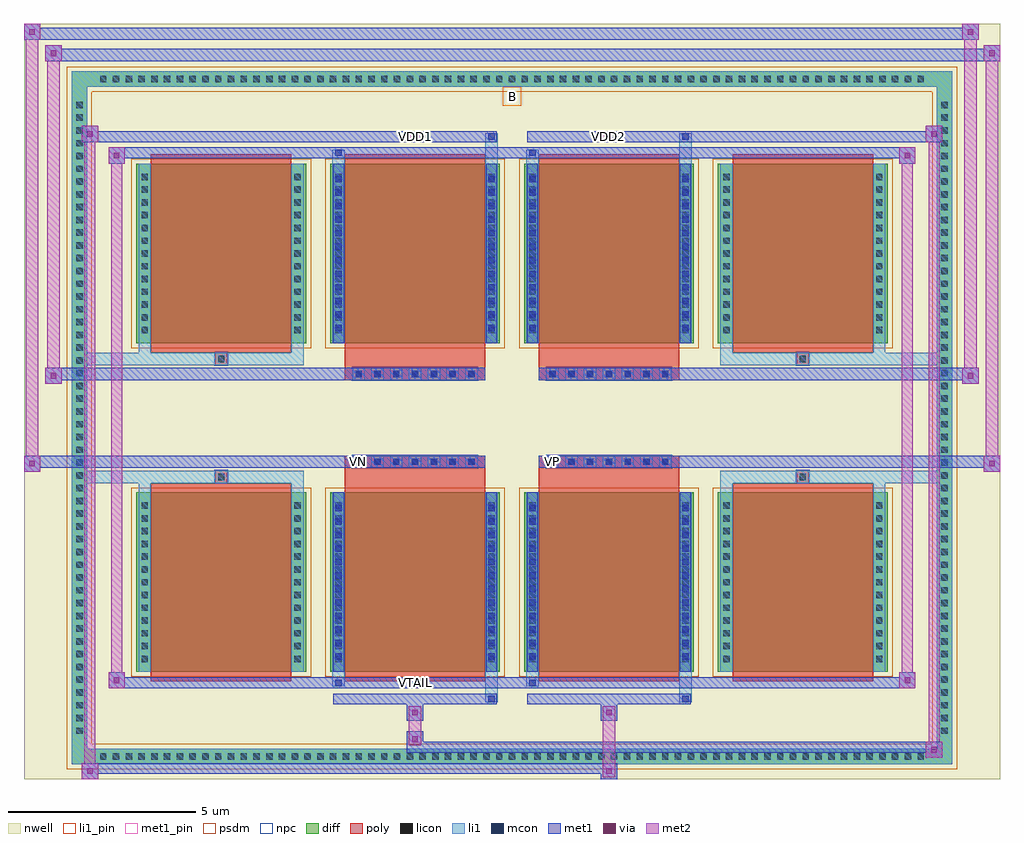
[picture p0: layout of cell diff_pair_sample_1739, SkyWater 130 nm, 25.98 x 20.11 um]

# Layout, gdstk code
import gdstk
lib = gdstk.Library(unit=1e-6, precision=5e-09)
def R(c, l, rs):  # rectangles x0, y0, x1, y1
    for r in rs: c.add(gdstk.rectangle(r[:2], r[2:], *l))
def A(c, l, x, y, w, h, nx, ny, dx, dy):  # array of equal rectangles
    R(c, l, [(x+i*dx, y+j*dy, x+i*dx+w, y+j*dy+h) for i in range(nx) for j in range(ny)])
def P(c, l, *ps):  # polygons
    for p in ps: c.add(gdstk.Polygon(p, *l))
nwell = (64, 20)
diff = (65, 20)
poly = (66, 20)
licon = (66, 44)
li1_pin = (67, 16)
li1 = (67, 20)
mcon = (67, 44)
met1_pin = (68, 16)
met1 = (68, 20)
via = (68, 44)
met2 = (69, 20)
psdm = (94, 20)
npc = (95, 20)

diff_pair_sample_1739 = lib.new_cell('diff_pair_sample_1739')
R(diff_pair_sample_1739, nwell, [(-12.99,-9.62,12.99,10.49), (-10.31,-7.81,-0.01,-0.805), (0.01,-7.81,10.31,-0.805), (-10.31,0.805,-0.01,7.81), (0.01,0.805,10.31,7.81)])
A(diff_pair_sample_1739, diff, -11.085, -9.22, 0.41, 0.41, 65, 2, 0.34, 18.03)
A(diff_pair_sample_1739, diff, -11.72, -8.535, 0.41, 0.41, 1, 50, 0, 0.34)
A(diff_pair_sample_1739, diff, 11.31, -8.535, 0.41, 0.41, 1, 50, 0, 0.34)
A(diff_pair_sample_1739, diff, -10, -6.765, 4.52, 4.78, 4, 2, 5.16, 8.75)
R(diff_pair_sample_1739, diff, [(-11.085,-9.22,11.085,-8.81), (-11.72,-8.535,-11.31,8.535), (11.31,-8.535,11.72,8.535), (-11.085,8.81,11.085,9.22)])
P(diff_pair_sample_1739, diff, [(11.72,9.22),(-11.72,9.22),(-11.72,-8.81),(-11.31,-8.81),(-11.31,8.81),(11.31,8.81),(11.31,-8.81),(-11.31,-8.81),(-11.72,-8.81),(-11.72,-9.22),(11.72,-9.22)])
A(diff_pair_sample_1739, poly, -9.61, -7.015, 3.74, 5.28, 4, 2, 5.16, 8.75)
A(diff_pair_sample_1739, poly, -4.245, -1.335, 0.33, 0.33, 7, 2, 0.5, 2.34)
A(diff_pair_sample_1739, poly, 0.915, -1.335, 0.33, 0.33, 7, 2, 0.5, 2.34)
R(diff_pair_sample_1739, poly, [(-7.905,-1.735,-7.575,-1.405), (-7.905,-1.735,-7.575,-1.405), (-4.45,-1.735,-0.71,-1.335), (0.71,-1.735,4.45,-1.335), (7.575,-1.735,7.905,-1.405), (7.575,-1.735,7.905,-1.405), (-4.45,-1.335,-0.71,-1.005), (0.71,-1.335,4.45,-1.005), (-4.45,1.005,-0.71,1.335), (0.71,1.005,4.45,1.335), (-4.45,1.335,-0.71,1.735), (0.71,1.335,4.45,1.735), (-7.905,1.405,-7.575,1.735), (-7.905,1.405,-7.575,1.735), (7.575,1.405,7.905,1.735), (7.575,1.405,7.905,1.735)])
A(diff_pair_sample_1739, licon, -10.965, -9.1, 0.17, 0.17, 65, 2, 0.34, 18.03)
A(diff_pair_sample_1739, licon, -11.6, -8.415, 0.17, 0.17, 1, 50, 0, 0.34)
A(diff_pair_sample_1739, licon, 11.43, -8.415, 0.17, 0.17, 1, 50, 0, 0.34)
A(diff_pair_sample_1739, licon, -9.86, -6.5, 0.17, 0.17, 1, 13, 0, 0.34)
A(diff_pair_sample_1739, licon, -5.79, -6.5, 0.17, 0.17, 1, 13, 0, 0.34)
A(diff_pair_sample_1739, licon, -4.7, -6.5, 0.17, 0.17, 1, 13, 0, 0.34)
A(diff_pair_sample_1739, licon, -0.63, -6.5, 0.17, 0.17, 1, 13, 0, 0.34)
A(diff_pair_sample_1739, licon, 0.46, -6.5, 0.17, 0.17, 1, 13, 0, 0.34)
A(diff_pair_sample_1739, licon, 4.53, -6.5, 0.17, 0.17, 1, 13, 0, 0.34)
A(diff_pair_sample_1739, licon, 5.62, -6.5, 0.17, 0.17, 1, 13, 0, 0.34)
A(diff_pair_sample_1739, licon, 9.69, -6.5, 0.17, 0.17, 1, 13, 0, 0.34)
A(diff_pair_sample_1739, licon, -4.165, -1.255, 0.17, 0.17, 7, 2, 0.5, 2.34)
A(diff_pair_sample_1739, licon, 0.995, -1.255, 0.17, 0.17, 7, 2, 0.5, 2.34)
A(diff_pair_sample_1739, licon, -9.86, 2.25, 0.17, 0.17, 1, 13, 0, 0.34)
A(diff_pair_sample_1739, licon, -5.79, 2.25, 0.17, 0.17, 1, 13, 0, 0.34)
A(diff_pair_sample_1739, licon, -4.7, 2.25, 0.17, 0.17, 1, 13, 0, 0.34)
A(diff_pair_sample_1739, licon, -0.63, 2.25, 0.17, 0.17, 1, 13, 0, 0.34)
A(diff_pair_sample_1739, licon, 0.46, 2.25, 0.17, 0.17, 1, 13, 0, 0.34)
A(diff_pair_sample_1739, licon, 4.53, 2.25, 0.17, 0.17, 1, 13, 0, 0.34)
A(diff_pair_sample_1739, licon, 5.62, 2.25, 0.17, 0.17, 1, 13, 0, 0.34)
A(diff_pair_sample_1739, licon, 9.69, 2.25, 0.17, 0.17, 1, 13, 0, 0.34)
R(diff_pair_sample_1739, licon, [(-7.825,-1.655,-7.655,-1.485), (7.655,-1.655,7.825,-1.485), (-7.825,1.485,-7.655,1.655), (7.655,1.485,7.825,1.655)])
R(diff_pair_sample_1739, li1_pin, [(-0.25,8.31,0.25,8.81)])
A(diff_pair_sample_1739, li1, -11.045, -9.18, 0.33, 0.33, 65, 2, 0.34, 18.03)
A(diff_pair_sample_1739, li1, -11.68, -8.495, 0.33, 0.33, 1, 50, 0, 0.34)
A(diff_pair_sample_1739, li1, 11.35, -8.495, 0.33, 0.33, 1, 50, 0, 0.34)
A(diff_pair_sample_1739, li1, -9.94, -6.58, 0.33, 0.33, 1, 13, 0, 0.34)
A(diff_pair_sample_1739, li1, -5.87, -6.58, 0.33, 0.33, 1, 13, 0, 0.34)
A(diff_pair_sample_1739, li1, -4.78, -6.58, 0.33, 0.33, 1, 13, 0, 0.34)
A(diff_pair_sample_1739, li1, -0.71, -6.58, 0.33, 0.33, 1, 13, 0, 0.34)
A(diff_pair_sample_1739, li1, 0.38, -6.58, 0.33, 0.33, 1, 13, 0, 0.34)
A(diff_pair_sample_1739, li1, 4.45, -6.58, 0.33, 0.33, 1, 13, 0, 0.34)
A(diff_pair_sample_1739, li1, 5.54, -6.58, 0.33, 0.33, 1, 13, 0, 0.34)
A(diff_pair_sample_1739, li1, 9.61, -6.58, 0.33, 0.33, 1, 13, 0, 0.34)
A(diff_pair_sample_1739, li1, -4.7, -6.44, 0.17, 0.17, 1, 12, 0, 0.36)
A(diff_pair_sample_1739, li1, -0.63, -6.44, 0.17, 0.17, 1, 12, 0, 0.36)
A(diff_pair_sample_1739, li1, 0.46, -6.44, 0.17, 0.17, 1, 12, 0, 0.36)
A(diff_pair_sample_1739, li1, 4.53, -6.44, 0.17, 0.17, 1, 12, 0, 0.36)
A(diff_pair_sample_1739, li1, -4.245, -1.335, 0.33, 0.33, 7, 2, 0.5, 2.34)
A(diff_pair_sample_1739, li1, 0.915, -1.335, 0.33, 0.33, 7, 2, 0.5, 2.34)
A(diff_pair_sample_1739, li1, -9.94, 2.17, 0.33, 0.33, 1, 13, 0, 0.34)
A(diff_pair_sample_1739, li1, -5.87, 2.17, 0.33, 0.33, 1, 13, 0, 0.34)
A(diff_pair_sample_1739, li1, -4.78, 2.17, 0.33, 0.33, 1, 13, 0, 0.34)
A(diff_pair_sample_1739, li1, -0.71, 2.17, 0.33, 0.33, 1, 13, 0, 0.34)
A(diff_pair_sample_1739, li1, 0.38, 2.17, 0.33, 0.33, 1, 13, 0, 0.34)
A(diff_pair_sample_1739, li1, 4.45, 2.17, 0.33, 0.33, 1, 13, 0, 0.34)
A(diff_pair_sample_1739, li1, 5.54, 2.17, 0.33, 0.33, 1, 13, 0, 0.34)
A(diff_pair_sample_1739, li1, 9.61, 2.17, 0.33, 0.33, 1, 13, 0, 0.34)
A(diff_pair_sample_1739, li1, -4.7, 2.31, 0.17, 0.17, 1, 12, 0, 0.36)
A(diff_pair_sample_1739, li1, -0.63, 2.31, 0.17, 0.17, 1, 12, 0, 0.36)
A(diff_pair_sample_1739, li1, 0.46, 2.31, 0.17, 0.17, 1, 12, 0, 0.36)
A(diff_pair_sample_1739, li1, 4.53, 2.31, 0.17, 0.17, 1, 12, 0, 0.36)
R(diff_pair_sample_1739, li1, [(-11.72,-9.22,-11.31,-8.81), (-11.72,-9.22,-11.31,-8.81), (-11.31,-9.22,11.31,-8.81), (11.31,-9.22,11.72,-8.81), (11.31,-9.22,11.72,-8.81), (-11.72,-8.81,-11.31,8.81), (11.31,-8.81,11.72,8.81), (-0.71,-7.57,-0.38,-6.765), (-0.63,-7.57,-0.46,-7.4), (4.45,-7.57,4.78,-6.765), (4.53,-7.57,4.7,-7.4), (-4.78,-7.14,-4.45,-6.765), (-4.7,-7.14,-4.53,-6.97), (0.38,-7.14,0.71,-6.765), (0.46,-7.14,0.63,-6.97), (-9.94,-6.765,-9.61,-1.985), (-5.87,-6.765,-5.54,-1.985), (-4.78,-6.765,-4.45,-1.985), (-0.71,-6.765,-0.38,-1.985), (0.38,-6.765,0.71,-1.985), (4.45,-6.765,4.78,-1.985), (5.54,-6.765,5.87,-1.985), (9.61,-6.765,9.94,-1.985), (-4.7,-6.44,-4.53,-2.31), (-0.63,-6.44,-0.46,-2.31), (0.46,-6.44,0.63,-2.31), (4.53,-6.44,4.7,-2.31), (-9.94,-1.985,-9.61,-1.405), (-5.87,-1.985,-5.54,-1.405), (5.54,-1.985,5.87,-1.405), (9.61,-1.985,9.94,-1.405), (-11.72,-1.735,-7.905,-1.405), (-9.94,-1.735,-7.905,-1.405), (-7.905,-1.735,-7.575,-1.405), (-7.575,-1.735,-5.54,-1.405), (5.54,-1.735,7.575,-1.405), (7.575,-1.735,7.905,-1.405), (7.575,-1.735,11.72,-1.405), (7.905,-1.735,9.94,-1.405), (-11.72,1.405,-7.905,1.735), (-9.94,1.405,-7.905,1.735), (-9.94,1.405,-9.61,1.985), (-7.905,1.405,-7.575,1.735), (-7.575,1.405,-5.54,1.735), (-5.87,1.405,-5.54,1.985), (5.54,1.405,7.575,1.735), (5.54,1.405,5.87,1.985), (7.575,1.405,7.905,1.735), (7.575,1.405,11.72,1.735), (7.905,1.405,9.94,1.735), (9.61,1.405,9.94,1.985), (-9.94,1.985,-9.61,6.765), (-5.87,1.985,-5.54,6.765), (-4.78,1.985,-4.45,6.765), (-0.71,1.985,-0.38,6.765), (0.38,1.985,0.71,6.765), (4.45,1.985,4.78,6.765), (5.54,1.985,5.87,6.765), (9.61,1.985,9.94,6.765), (-4.7,2.31,-4.53,6.44), (-0.63,2.31,-0.46,6.44), (0.46,2.31,0.63,6.44), (4.53,2.31,4.7,6.44), (-4.78,6.765,-4.45,7.14), (-0.71,6.765,-0.38,7.57), (0.38,6.765,0.71,7.14), (4.45,6.765,4.78,7.57), (-4.7,6.97,-4.53,7.14), (0.46,6.97,0.63,7.14), (-0.63,7.4,-0.46,7.57), (4.53,7.4,4.7,7.57), (-11.72,8.81,-11.31,9.22), (-11.72,8.81,-11.31,9.22), (-11.31,8.81,11.31,9.22), (11.31,8.81,11.72,9.22), (11.31,8.81,11.72,9.22)])
A(diff_pair_sample_1739, mcon, -4.7, -6.44, 0.17, 0.17, 1, 12, 0, 0.36)
A(diff_pair_sample_1739, mcon, -0.63, -6.44, 0.17, 0.17, 1, 12, 0, 0.36)
A(diff_pair_sample_1739, mcon, 0.46, -6.44, 0.17, 0.17, 1, 12, 0, 0.36)
A(diff_pair_sample_1739, mcon, 4.53, -6.44, 0.17, 0.17, 1, 12, 0, 0.36)
A(diff_pair_sample_1739, mcon, -4.165, -1.255, 0.17, 0.17, 7, 2, 0.5, 2.34)
A(diff_pair_sample_1739, mcon, 0.995, -1.255, 0.17, 0.17, 7, 2, 0.5, 2.34)
A(diff_pair_sample_1739, mcon, -4.7, 2.31, 0.17, 0.17, 1, 12, 0, 0.36)
A(diff_pair_sample_1739, mcon, -0.63, 2.31, 0.17, 0.17, 1, 12, 0, 0.36)
A(diff_pair_sample_1739, mcon, 0.46, 2.31, 0.17, 0.17, 1, 12, 0, 0.36)
A(diff_pair_sample_1739, mcon, 4.53, 2.31, 0.17, 0.17, 1, 12, 0, 0.36)
R(diff_pair_sample_1739, mcon, [(-0.63,-7.57,-0.46,-7.4), (4.53,-7.57,4.7,-7.4), (-4.7,-7.14,-4.53,-6.97), (0.46,-7.14,0.63,-6.97), (-4.7,6.97,-4.53,7.14), (0.46,6.97,0.63,7.14), (-0.63,7.4,-0.46,7.57), (4.53,7.4,4.7,7.57)])
R(diff_pair_sample_1739, met1_pin, [(-2.715,-7.18,-2.445,-6.91), (-4.215,-1.295,-3.945,-1.025), (0.945,-1.295,1.215,-1.025), (-2.715,7.36,-2.445,7.63), (2.445,7.36,2.715,7.63)])
A(diff_pair_sample_1739, met1, -4.76, -6.5, 0.29, 0.29, 1, 12, 0, 0.36)
A(diff_pair_sample_1739, met1, -0.69, -6.5, 0.29, 0.29, 1, 12, 0, 0.36)
A(diff_pair_sample_1739, met1, 0.4, -6.5, 0.29, 0.29, 1, 12, 0, 0.36)
A(diff_pair_sample_1739, met1, 4.47, -6.5, 0.29, 0.29, 1, 12, 0, 0.36)
A(diff_pair_sample_1739, met1, -4.225, -1.315, 0.29, 0.29, 7, 2, 0.5, 2.34)
A(diff_pair_sample_1739, met1, 0.935, -1.315, 0.29, 0.29, 7, 2, 0.5, 2.34)
A(diff_pair_sample_1739, met1, -4.76, 2.25, 0.29, 0.29, 1, 12, 0, 0.36)
A(diff_pair_sample_1739, met1, -0.69, 2.25, 0.29, 0.29, 1, 12, 0, 0.36)
A(diff_pair_sample_1739, met1, 0.4, 2.25, 0.29, 0.29, 1, 12, 0, 0.36)
A(diff_pair_sample_1739, met1, 4.47, 2.25, 0.29, 0.29, 1, 12, 0, 0.36)
R(diff_pair_sample_1739, met1, [(-11.45,-9.62,-11.02,-9.19), (2.365,-9.62,2.795,-9.19), (-11.45,-9.48,2.795,-9.19), (11.02,-9.05,11.45,-8.62), (-2.795,-8.91,11.45,-8.62), (-2.795,-8.77,-2.365,-8.34), (-2.795,-8.06,-2.365,-7.63), (2.365,-8.06,2.795,-7.63), (-4.76,-7.63,-0.4,-7.34), (-0.69,-7.63,-0.4,-7.34), (0.4,-7.63,4.76,-7.34), (4.47,-7.63,4.76,-7.34), (-10.74,-7.2,-10.31,-6.77), (-10.74,-7.2,-4.76,-6.91), (-4.76,-7.2,-4.47,-6.91), (-4.76,-7.2,-0.4,-6.91), (-0.4,-7.2,0.4,-6.91), (0.4,-7.2,0.69,-6.91), (0.4,-7.2,4.76,-6.91), (4.76,-7.2,10.74,-6.91), (10.31,-7.2,10.74,-6.77), (-4.76,-6.765,-4.47,-1.985), (-0.69,-6.765,-0.4,-1.985), (0.4,-6.765,0.69,-1.985), (4.47,-6.765,4.76,-1.985), (-12.99,-1.435,-12.56,-1.005), (12.56,-1.435,12.99,-1.005), (-12.99,-1.335,-0.71,-1.005), (-4.45,-1.335,-0.71,-1.005), (0.71,-1.335,4.45,-1.005), (0.71,-1.335,12.99,-1.005), (-12.42,0.905,-11.99,1.335), (11.99,0.905,12.42,1.335), (-12.42,1.005,-4.45,1.335), (-4.45,1.005,-0.71,1.335), (0.71,1.005,4.45,1.335), (4.45,1.005,12.42,1.335), (-4.76,1.985,-4.47,6.765), (-0.69,1.985,-0.4,6.765), (0.4,1.985,0.69,6.765), (4.47,1.985,4.76,6.765), (-10.74,6.77,-10.31,7.2), (10.31,6.77,10.74,7.2), (-10.74,6.91,-4.76,7.2), (-4.76,6.91,-4.47,7.2), (-4.76,6.91,-0.4,7.2), (-0.4,6.91,0.4,7.2), (0.4,6.91,0.69,7.2), (0.4,6.91,4.76,7.2), (4.76,6.91,10.74,7.2), (-11.45,7.34,-11.02,7.77), (-11.45,7.34,-4.76,7.63), (-4.76,7.34,-0.4,7.63), (-0.69,7.34,-0.4,7.63), (0.4,7.34,4.76,7.63), (4.47,7.34,4.76,7.63), (4.76,7.34,11.45,7.63), (11.02,7.34,11.45,7.77), (-12.42,9.49,-11.99,9.92), (-12.42,9.49,-10.31,9.82), (-10.31,9.49,10.31,9.82), (10.31,9.49,12.99,9.82), (12.56,9.49,12.99,9.92), (-12.99,10.06,-12.56,10.49), (-12.99,10.06,-10.31,10.39), (-10.31,10.06,10.31,10.39), (10.31,10.06,12.42,10.39), (11.99,10.06,12.42,10.49)])
R(diff_pair_sample_1739, via, [(-11.31,-9.48,-11.16,-9.33), (2.505,-9.48,2.655,-9.33), (11.16,-8.91,11.31,-8.76), (-2.655,-8.63,-2.505,-8.48), (-2.655,-7.92,-2.505,-7.77), (2.505,-7.92,2.655,-7.77), (-10.6,-7.06,-10.45,-6.91), (10.45,-7.06,10.6,-6.91), (-12.85,-1.295,-12.7,-1.145), (12.7,-1.295,12.85,-1.145), (-12.28,1.045,-12.13,1.195), (12.13,1.045,12.28,1.195), (-10.6,6.91,-10.45,7.06), (10.45,6.91,10.6,7.06), (-11.31,7.48,-11.16,7.63), (11.16,7.48,11.31,7.63), (-12.28,9.63,-12.13,9.78), (12.7,9.63,12.85,9.78), (-12.85,10.2,-12.7,10.35), (12.13,10.2,12.28,10.35)])
R(diff_pair_sample_1739, met2, [(-11.45,-9.62,-11.02,-9.19), (-11.38,-9.62,-11.09,7.77), (-11.09,-9.62,-11.02,-9.19), (-11.4,-9.57,-11.07,-9.24), (2.415,-9.57,2.745,-9.24), (2.415,-9.24,2.745,-8.01), (11.02,-9.05,11.45,-8.62), (11.09,-9.05,11.38,7.77), (11.38,-9.05,11.45,-8.62), (11.07,-9,11.4,-8.67), (-2.745,-8.72,-2.415,-8.39), (-2.745,-8.39,-2.415,-8.01), (-2.745,-8.01,-2.415,-7.68), (2.415,-8.01,2.745,-7.68), (-10.74,-7.2,-10.31,-6.77), (-10.67,-7.2,-10.38,7.2), (-10.38,-7.2,-10.31,-6.77), (10.31,-7.2,10.74,-6.77), (10.38,-7.2,10.67,7.2), (10.67,-7.2,10.74,-6.77), (-10.69,-7.15,-10.36,-6.82), (10.36,-7.15,10.69,-6.82), (-12.99,-1.435,-12.56,-1.005), (-12.94,-1.435,-12.61,10.49), (-12.61,-1.435,-12.56,-1.005), (12.56,-1.435,12.99,-1.005), (12.61,-1.435,12.94,9.92), (12.94,-1.435,12.99,-1.005), (-12.94,-1.385,-12.61,-1.055), (12.61,-1.385,12.94,-1.055), (-12.42,0.905,-11.99,1.335), (-12.37,0.905,-12.04,9.92), (-12.04,0.905,-11.99,1.335), (11.99,0.905,12.42,1.335), (12.04,0.905,12.37,10.49), (12.37,0.905,12.42,1.335), (-12.37,0.955,-12.04,1.285), (12.04,0.955,12.37,1.285), (-10.74,6.77,-10.31,7.2), (-10.38,6.77,-10.31,7.2), (10.31,6.77,10.74,7.2), (10.67,6.77,10.74,7.2), (-10.69,6.82,-10.36,7.15), (10.36,6.82,10.69,7.15), (-11.45,7.34,-11.02,7.77), (-11.09,7.34,-11.02,7.77), (11.02,7.34,11.45,7.77), (11.38,7.34,11.45,7.77), (-11.4,7.39,-11.07,7.72), (11.07,7.39,11.4,7.72), (-12.42,9.49,-11.99,9.92), (-12.04,9.49,-11.99,9.92), (12.56,9.49,12.99,9.92), (12.94,9.49,12.99,9.92), (-12.37,9.54,-12.04,9.87), (12.61,9.54,12.94,9.87), (-12.99,10.06,-12.56,10.49), (-12.61,10.06,-12.56,10.49), (11.99,10.06,12.42,10.49), (12.37,10.06,12.42,10.49), (-12.94,10.11,-12.61,10.44), (12.04,10.11,12.37,10.44)])
A(diff_pair_sample_1739, psdm, -10.13, -6.895, 4.78, 5.04, 4, 2, 5.16, 8.75)
P(diff_pair_sample_1739, psdm, [(11.85,9.35),(-11.85,9.35),(-11.85,-8.68),(-11.18,-8.68),(-11.18,8.68),(11.18,8.68),(11.18,-8.68),(-11.18,-8.68),(-11.85,-8.68),(-11.85,-9.35),(11.85,-9.35)])
A(diff_pair_sample_1739, npc, -4.265, -1.355, 0.37, 0.37, 7, 2, 0.5, 2.34)
A(diff_pair_sample_1739, npc, 0.895, -1.355, 0.37, 0.37, 7, 2, 0.5, 2.34)
R(diff_pair_sample_1739, npc, [(-7.925,-1.755,-7.555,-1.385), (7.555,-1.755,7.925,-1.385), (-4.265,-1.355,-3.395,-0.985), (-4.265,-1.355,-3.395,-0.985), (-3.765,-1.355,-2.895,-0.985), (-3.765,-1.355,-2.895,-0.985), (-3.265,-1.355,-2.395,-0.985), (-3.265,-1.355,-2.395,-0.985), (-2.765,-1.355,-1.895,-0.985), (-2.765,-1.355,-1.895,-0.985), (-2.265,-1.355,-1.395,-0.985), (-2.265,-1.355,-1.395,-0.985), (-1.765,-1.355,-0.895,-0.985), (-1.765,-1.355,-0.895,-0.985), (0.895,-1.355,1.765,-0.985), (0.895,-1.355,1.765,-0.985), (1.395,-1.355,2.265,-0.985), (1.395,-1.355,2.265,-0.985), (1.895,-1.355,2.765,-0.985), (1.895,-1.355,2.765,-0.985), (2.395,-1.355,3.265,-0.985), (2.395,-1.355,3.265,-0.985), (2.895,-1.355,3.765,-0.985), (2.895,-1.355,3.765,-0.985), (3.395,-1.355,4.265,-0.985), (3.395,-1.355,4.265,-0.985), (-4.265,0.985,-3.395,1.355), (-4.265,0.985,-3.395,1.355), (-3.765,0.985,-2.895,1.355), (-3.765,0.985,-2.895,1.355), (-3.265,0.985,-2.395,1.355), (-3.265,0.985,-2.395,1.355), (-2.765,0.985,-1.895,1.355), (-2.765,0.985,-1.895,1.355), (-2.265,0.985,-1.395,1.355), (-2.265,0.985,-1.395,1.355), (-1.765,0.985,-0.895,1.355), (-1.765,0.985,-0.895,1.355), (0.895,0.985,1.765,1.355), (0.895,0.985,1.765,1.355), (1.395,0.985,2.265,1.355), (1.395,0.985,2.265,1.355), (1.895,0.985,2.765,1.355), (1.895,0.985,2.765,1.355), (2.395,0.985,3.265,1.355), (2.395,0.985,3.265,1.355), (2.895,0.985,3.765,1.355), (2.895,0.985,3.765,1.355), (3.395,0.985,4.265,1.355), (3.395,0.985,4.265,1.355), (-7.925,1.385,-7.555,1.755), (7.555,1.385,7.925,1.755)])
diff_pair_sample_1739.add(gdstk.Label('VTAIL', (-2.58,-7.045), layer=68, texttype=5))
diff_pair_sample_1739.add(gdstk.Label('VN', (-4.08,-1.16), layer=68, texttype=5))
diff_pair_sample_1739.add(gdstk.Label('VP', (1.08,-1.16), layer=68, texttype=5))
diff_pair_sample_1739.add(gdstk.Label('B', (0,8.56), layer=67, texttype=5))
diff_pair_sample_1739.add(gdstk.Label('VDD2', (2.58,7.495), layer=68, texttype=5))
diff_pair_sample_1739.add(gdstk.Label('VDD1', (-2.58,7.495), layer=68, texttype=5))

lib.write_gds('diff_pair_sample_1739.gds')
